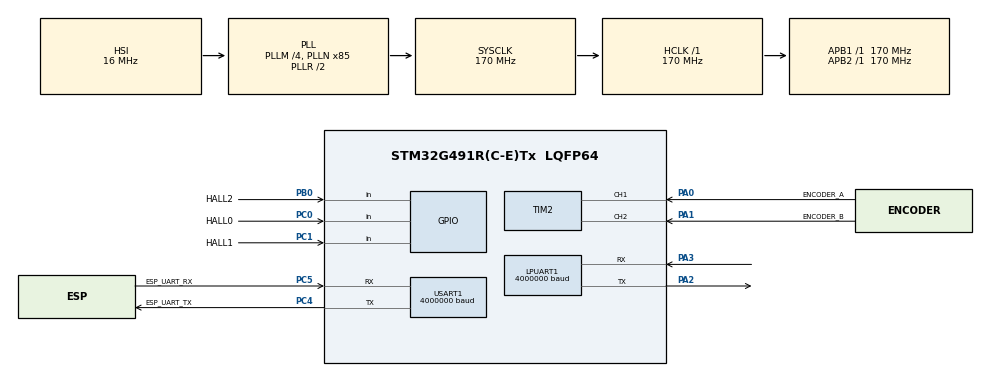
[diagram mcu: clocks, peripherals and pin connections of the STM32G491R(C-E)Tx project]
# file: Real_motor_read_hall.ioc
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Dma.LPUART1_TX.2.Direction=DMA_MEMORY_TO_PERIPH
Dma.LPUART1_TX.2.EventEnable=DISABLE
Dma.LPUART1_TX.2.Instance=DMA1_Channel3
Dma.LPUART1_TX.2.MemDataAlignment=DMA_MDATAALIGN_BYTE
Dma.LPUART1_TX.2.MemInc=DMA_MINC_ENABLE
Dma.LPUART1_TX.2.Mode=DMA_NORMAL
Dma.LPUART1_TX.2.PeriphDataAlignment=DMA_PDATAALIGN_BYTE
Dma.LPUART1_TX.2.PeriphInc=DMA_PINC_DISABLE
Dma.LPUART1_TX.2.Polarity=HAL_DMAMUX_REQ_GEN_RISING
Dma.LPUART1_TX.2.Priority=DMA_PRIORITY_MEDIUM
Dma.LPUART1_TX.2.RequestNumber=1
Dma.LPUART1_TX.2.SignalID=NONE
Dma.LPUART1_TX.2.SyncEnable=DISABLE
Dma.LPUART1_TX.2.SyncPolarity=HAL_DMAMUX_SYNC_NO_EVENT
Dma.LPUART1_TX.2.SyncRequestNumber=1
Dma.LPUART1_TX.2.SyncSignalID=NONE
Dma.Request0=USART1_RX
Dma.Request1=USART1_TX
Dma.Request2=LPUART1_TX
Dma.USART1_RX.0.Direction=DMA_PERIPH_TO_MEMORY
Dma.USART1_RX.0.EventEnable=DISABLE
Dma.USART1_RX.0.Instance=DMA1_Channel1
Dma.USART1_RX.0.MemDataAlignment=DMA_MDATAALIGN_BYTE
Dma.USART1_RX.0.MemInc=DMA_MINC_ENABLE
Dma.USART1_RX.0.Mode=DMA_NORMAL
Dma.USART1_RX.0.PeriphDataAlignment=DMA_PDATAALIGN_BYTE
Dma.USART1_RX.0.PeriphInc=DMA_PINC_DISABLE
Dma.USART1_RX.0.Polarity=HAL_DMAMUX_REQ_GEN_RISING
Dma.USART1_RX.0.Priority=DMA_PRIORITY_HIGH
Dma.USART1_RX.0.RequestNumber=1
Dma.USART1_RX.0.SignalID=NONE
Dma.USART1_RX.0.SyncEnable=DISABLE
Dma.USART1_RX.0.SyncPolarity=HAL_DMAMUX_SYNC_NO_EVENT
Dma.USART1_RX.0.SyncRequestNumber=1
Dma.USART1_RX.0.SyncSignalID=NONE
Dma.USART1_TX.1.Direction=DMA_MEMORY_TO_PERIPH
Dma.USART1_TX.1.EventEnable=DISABLE
Dma.USART1_TX.1.Instance=DMA1_Channel2
Dma.USART1_TX.1.MemDataAlignment=DMA_MDATAALIGN_BYTE
Dma.USART1_TX.1.MemInc=DMA_MINC_ENABLE
Dma.USART1_TX.1.Mode=DMA_NORMAL
Dma.USART1_TX.1.PeriphDataAlignment=DMA_PDATAALIGN_BYTE
Dma.USART1_TX.1.PeriphInc=DMA_PINC_DISABLE
Dma.USART1_TX.1.Polarity=HAL_DMAMUX_REQ_GEN_RISING
Dma.USART1_TX.1.Priority=DMA_PRIORITY_HIGH
Dma.USART1_TX.1.RequestNumber=1
Dma.USART1_TX.1.SignalID=NONE
Dma.USART1_TX.1.SyncEnable=DISABLE
Dma.USART1_TX.1.SyncPolarity=HAL_DMAMUX_SYNC_NO_EVENT
Dma.USART1_TX.1.SyncRequestNumber=1
Dma.USART1_TX.1.SyncSignalID=NONE
LPUART1.BaudRate=4000000
Mcu.Family=STM32G4
Mcu.Name=STM32G491R(C-E)Tx
Mcu.Package=LQFP64
NVIC.DMA1_Channel1_IRQn=true\:2\:0\:false\:false\:true\:false\:true\:true
NVIC.DMA1_Channel2_IRQn=true\:2\:0\:false\:false\:true\:false\:true\:true
NVIC.DMA1_Channel3_IRQn=true\:3\:0\:false\:false\:true\:false\:true\:true
NVIC.LPUART1_IRQn=true\:3\:0\:false\:false\:true\:true\:true\:true
NVIC.PriorityGroup=NVIC_PRIORITYGROUP_4
NVIC.TIM6_DAC_IRQn=true\:1\:0\:false\:false\:true\:true\:true\:true
NVIC.USART1_IRQn=true\:2\:0\:false\:false\:true\:true\:true\:true
PA0.GPIO_Label=ENCODER_A
PA0.GPIO_PuPd=GPIO_PULLUP
PA0.Signal=S_TIM2_CH1
PA1.GPIO_Label=ENCODER_B
PA1.GPIO_PuPd=GPIO_PULLUP
PA1.Signal=S_TIM2_CH2
PA13.Mode=Serial_Wire
PA13.Signal=SYS_JTMS-SWDIO
PA14.Mode=Serial_Wire
PA14.Signal=SYS_JTCK-SWCLK
PA2.Mode=Asynchronous
PA2.Signal=LPUART1_TX
PA2.TagName=VCP_TX
PA3.Mode=Asynchronous
PA3.Signal=LPUART1_RX
PA3.TagName=VCP_RX
PB0.GPIO_Label=HALL2
PB0.GPIO_PuPd=GPIO_PULLUP
PB0.Signal=GPIO_Input
PC0.GPIO_Label=HALL0
PC0.GPIO_PuPd=GPIO_PULLUP
PC0.Signal=GPIO_Input
PC1.GPIO_Label=HALL1
PC1.GPIO_PuPd=GPIO_PULLUP
PC1.Signal=GPIO_Input
PC4.GPIO_Label=ESP_UART_TX
PC4.GPIO_Speed=GPIO_SPEED_FREQ_VERY_HIGH
PC4.Mode=Asynchronous
PC4.Signal=USART1_TX
PC5.GPIO_Label=ESP_UART_RX
PC5.GPIO_PuPd=GPIO_PULLUP
PC5.GPIO_Speed=GPIO_SPEED_FREQ_VERY_HIGH
PC5.Mode=Asynchronous
PC5.Signal=USART1_RX
ProjectManager.HeapSize=0x200
ProjectManager.StackSize=0x400
ProjectManager.TargetToolchain=STM32CubeIDE
RCC.ADC12Freq_Value=170000000
RCC.ADC345Freq_Value=170000000
RCC.AHBFreq_Value=170000000
RCC.APB1Freq_Value=170000000
RCC.APB1TimFreq_Value=170000000
RCC.APB2Freq_Value=170000000
RCC.APB2TimFreq_Value=170000000
RCC.CortexFreq_Value=170000000
RCC.EXTERNAL_CLOCK_VALUE=12288000
RCC.HCLKFreq_Value=170000000
RCC.HSE_VALUE=24000000
RCC.HSI48_VALUE=48000000
RCC.HSI_VALUE=16000000
RCC.LSE_VALUE=32768
RCC.PLLM=RCC_PLLM_DIV4
RCC.PLLN=85
RCC.RTCClockSelection=RCC_RTCCLKSOURCE_LSE
RCC.SYSCLKFreq_VALUE=170000000
RCC.SYSCLKSource=RCC_SYSCLKSOURCE_PLLCLK
RCC.USBFreq_Value=48000000
RCC.VCOOutputFreq_Value=340000000
SH.S_TIM2_CH1.0=TIM2_CH1,Encoder_Interface
SH.S_TIM2_CH2.0=TIM2_CH2,Encoder_Interface
TIM2.EncoderMode=TIM_ENCODERMODE_TI12
TIM2.IC1Filter=6
TIM2.IC2Filter=6
TIM6.PeriodNoDither=999
TIM6.Prescaler=169
USART1.BaudRate=4000000
USART1.VirtualMode-Asynchronous=VM_ASYNC
VP_SYS_VS_DBSignals.Mode=DisableDeadBatterySignals
VP_TIM6_VS_ClockSourceINT.Mode=Enable_Timer
board=NUCLEO-G491RE

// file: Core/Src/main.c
/* USER CODE BEGIN Header */
/**
  ******************************************************************************
  * @file           : main.c
  * @brief          : Main program body
  ******************************************************************************
  * @attention
  *
  * Copyright (c) 2026 STMicroelectronics.
  * All rights reserved.
  *
  * This software is licensed under terms that can be found in the LICENSE file
  * in the root directory of this software component.
  * If no LICENSE file comes with this software, it is provided AS-IS.
  *
  ******************************************************************************
  */
/* USER CODE END Header */
#include "main.h"

/* USER CODE BEGIN Includes */
#include <stdio.h>
#include "current_pi_sim.h"
#include "pc_sim.h"
/* USER CODE END Includes */

/* USER CODE BEGIN PD */
#define ENCODER_PPR             4096U
/* TIM_ENCODERMODE_TI12 = 4x decoding: her PPR cizgisi 4 sayima karsilik gelir. */
#define ENCODER_COUNTS_PER_REV  (ENCODER_PPR * 4U)
#define UART_TELEMETRY_PERIOD_MS 1U
/* USER CODE END PD */

UART_HandleTypeDef hlpuart1;
UART_HandleTypeDef huart1;
DMA_HandleTypeDef hdma_lpuart1_tx;
DMA_HandleTypeDef hdma_usart1_rx;
DMA_HandleTypeDef hdma_usart1_tx;

TIM_HandleTypeDef htim2;
TIM_HandleTypeDef htim6;

/* USER CODE BEGIN PV */
/* STM32CubeIDE Live Expressions veya daha sonra eklenecek UI komut katmani
   uzerinden bu ayarlar degistirilebilir. */
volatile CurrentPiInputs g_control_inputs = CURRENT_PI_DEFAULT_INPUTS;
volatile CurrentPiState g_control_state;
volatile uint32_t g_control_skipped_steps = 0U;
volatile uint32_t g_uart_errors = 0U;
volatile uint32_t g_uart_dropped_frames = 0U;
static CurrentPiState currentPi;
#if !PC_SIMULATION
static char telemetryMsg[256];
static uint32_t telemetrySequence = 0U;
#endif

/* USER CODE END PV */

void SystemClock_Config(void);
static void MX_GPIO_Init(void);
static void MX_DMA_Init(void);
static void MX_LPUART1_UART_Init(void);
static void MX_USART1_UART_Init(void);
static void MX_TIM2_Init(void);
static void MX_TIM6_Init(void);

/* USER CODE BEGIN 0 */
#if !PC_SIMULATION
static uint8_t Read_Hall_State(void)
{
  uint8_t h0 = (uint8_t)HAL_GPIO_ReadPin(HALL0_GPIO_Port, HALL0_Pin);
  uint8_t h1 = (uint8_t)HAL_GPIO_ReadPin(HALL1_GPIO_Port, HALL1_Pin);
  uint8_t h2 = (uint8_t)HAL_GPIO_ReadPin(HALL2_GPIO_Port, HALL2_Pin);

  return (uint8_t)((h2 << 2) | (h1 << 1) | h0);
}

/**
  * @brief  TIM2'nin 32-bit encoder sayacini okur.
  */
static int32_t Read_Encoder_Count(void)
{
  return (int32_t)__HAL_TIM_GET_COUNTER(&htim2);
}

static char Phase_Char(MotorPhase phase)
{
  static const char names[] = "-ABC";
  return (phase <= PHASE_C) ? names[phase] : '-';
}

/**
  * @brief  Hall, sektor, gercek encoder/RPM ve sanal PI/akim durumunu UI'ya
  *         tek ve kolay ayrıştırılabilir UART satiri olarak yollar.
  */
static void Print_Telemetry(int32_t encoder_count, uint32_t timestamp_ms)
{
  int len;

  if (hlpuart1.gState != HAL_UART_STATE_READY)
  {
    ++g_uart_dropped_frames;
    return;
  }

  len = snprintf(telemetryMsg, sizeof(telemetryMsg),
      "DATA t=%lu seq=%lu hall=%u sector=%u high=%c low=%c float=%c valid=%u "
      "enc=%ld rpm=%ld iref_ma=%ld fake_i_ma=%ld err_ma=%ld "
      "duty_x10=%ld integral_x10=%ld bemf_mv=%ld applied_mv=%ld "
      "enabled=%lu drop=%lu\r\n",
      (unsigned long)timestamp_ms,
      (unsigned long)telemetrySequence,
      (unsigned int)currentPi.hall_state,
      (unsigned int)currentPi.commutation.sector,
      Phase_Char(currentPi.commutation.high_phase),
      Phase_Char(currentPi.commutation.low_phase),
      Phase_Char(currentPi.commutation.floating_phase),
      (unsigned int)currentPi.commutation.valid,
      (long)encoder_count,
      (long)currentPi.real_rpm,
      (long)(currentPi.target_current_a * 1000.0f),
      (long)(currentPi.fake_current_a * 1000.0f),
      (long)(currentPi.error_a * 1000.0f),
      (long)(currentPi.duty_percent * 10.0f),
      (long)(currentPi.integral_percent * 10.0f),
      (long)(currentPi.back_emf_v * 1000.0f),
      (long)(currentPi.applied_voltage_v * 1000.0f),
      (unsigned long)currentPi.applied_inputs.enabled,
      (unsigned long)g_uart_dropped_frames);

  if (len <= 0 || len >= (int)sizeof(telemetryMsg) ||
      HAL_UART_Transmit_DMA(&hlpuart1, (uint8_t *)telemetryMsg,
                            (uint16_t)len) != HAL_OK)
  {
    ++g_uart_errors;
  }
  else
  {
    ++telemetrySequence;
  }
}

#endif
/* USER CODE END 0 */

int main(void)
{

  /* MCU Configuration--------------------------------------------------------*/

  /* Reset of all peripherals, Initializes the Flash interface and the Systick. */
  HAL_Init();

  /* Configure the system clock */
  SystemClock_Config();

  /* Initialize all configured peripherals */
  MX_GPIO_Init();
  MX_DMA_Init();
  MX_LPUART1_UART_Init();
  MX_USART1_UART_Init();
  MX_TIM2_Init();
  MX_TIM6_Init();
  /* USER CODE BEGIN 2 */
  #if PC_SIMULATION
  CurrentPi_Init(&currentPi);
  PCSim_Init(&hlpuart1);
  #else
  uint32_t lastControlMs = HAL_GetTick();
  uint32_t lastEncoderSampleMs = lastControlMs;
  uint32_t lastTelemetryMs = lastControlMs;
  int32_t encoderCount;
  int32_t lastEncoderCount;
  float realRpm = 0.0f;

  CurrentPi_Init(&currentPi);
  if (HAL_TIM_Encoder_Start(&htim2, TIM_CHANNEL_ALL) != HAL_OK)
  {
    Error_Handler();
  }
  __HAL_TIM_SET_COUNTER(&htim2, 0U);
  lastEncoderCount = Read_Encoder_Count();
  encoderCount = lastEncoderCount;
  /* Motor surucusu/PWM cikisi yoktur. Hall ve encoder gercek giris; akim ve
     duty STM32 icinde sayisal olarak simule edilir. */
  g_control_state = currentPi;
  #endif
  /* USER CODE END 2 */

  /* Infinite loop */
  /* USER CODE BEGIN WHILE */
  while (1)
  {
    #if PC_SIMULATION
    const CurrentPiInputs inputs = g_control_inputs;
    PCSim_Poll(&inputs);
    g_control_state = g_pc_sim.pi;
    #else
    uint32_t nowMs = HAL_GetTick();
    uint32_t steps = 0U;
    uint8_t hallState = Read_Hall_State();

    if ((uint32_t)(nowMs - lastEncoderSampleMs) >= CURRENT_PI_STEP_MS)
    {
      uint32_t deltaMs = nowMs - lastEncoderSampleMs;
      int32_t deltaCount;

      encoderCount = Read_Encoder_Count();
      deltaCount = (int32_t)((uint32_t)encoderCount -
                             (uint32_t)lastEncoderCount);
      realRpm = ((float)deltaCount * 60000.0f) /
                ((float)ENCODER_COUNTS_PER_REV * (float)deltaMs);
      lastEncoderCount = encoderCount;
      lastEncoderSampleMs = nowMs;
    }

    while ((uint32_t)(nowMs - lastControlMs) >= CURRENT_PI_STEP_MS &&
           steps < 5U)
    {
      const CurrentPiInputs inputs = g_control_inputs;
      CurrentPi_Step(&currentPi, &inputs, realRpm, hallState);
      lastControlMs += CURRENT_PI_STEP_MS;
      ++steps;
    }
    if ((uint32_t)(nowMs - lastControlMs) >= CURRENT_PI_STEP_MS)
    {
      g_control_skipped_steps +=
          (uint32_t)(nowMs - lastControlMs) / CURRENT_PI_STEP_MS;
      lastControlMs = nowMs;
    }
    g_control_state = currentPi;

    if ((uint32_t)(nowMs - lastTelemetryMs) >= UART_TELEMETRY_PERIOD_MS)
    {
      lastTelemetryMs = nowMs;
      Print_Telemetry(encoderCount, nowMs);
    }
    __WFI();
    #endif
    /* USER CODE END WHILE */

  }
}

void SystemClock_Config(void)
{
  RCC_OscInitTypeDef RCC_OscInitStruct = {0};
  RCC_ClkInitTypeDef RCC_ClkInitStruct = {0};

  /** Configure the main internal regulator output voltage
  */
  HAL_PWREx_ControlVoltageScaling(PWR_REGULATOR_VOLTAGE_SCALE1_BOOST);

  /** Initializes the RCC Oscillators according to the specified parameters
  * in the RCC_OscInitTypeDef structure.
  */
  RCC_OscInitStruct.OscillatorType = RCC_OSCILLATORTYPE_HSI;
  RCC_OscInitStruct.HSIState = RCC_HSI_ON;
  RCC_OscInitStruct.HSICalibrationValue = RCC_HSICALIBRATION_DEFAULT;
  RCC_OscInitStruct.PLL.PLLState = RCC_PLL_ON;
  RCC_OscInitStruct.PLL.PLLSource = RCC_PLLSOURCE_HSI;
  RCC_OscInitStruct.PLL.PLLM = RCC_PLLM_DIV4;
  RCC_OscInitStruct.PLL.PLLN = 85;
  RCC_OscInitStruct.PLL.PLLP = RCC_PLLP_DIV2;
  RCC_OscInitStruct.PLL.PLLQ = RCC_PLLQ_DIV2;
  RCC_OscInitStruct.PLL.PLLR = RCC_PLLR_DIV2;
  if (HAL_RCC_OscConfig(&RCC_OscInitStruct) != HAL_OK)
  {
    Error_Handler();
  }

  /** Initializes the CPU, AHB and APB buses clocks
  */
  RCC_ClkInitStruct.ClockType = RCC_CLOCKTYPE_HCLK|RCC_CLOCKTYPE_SYSCLK
                              |RCC_CLOCKTYPE_PCLK1|RCC_CLOCKTYPE_PCLK2;
  RCC_ClkInitStruct.SYSCLKSource = RCC_SYSCLKSOURCE_PLLCLK;
  RCC_ClkInitStruct.AHBCLKDivider = RCC_SYSCLK_DIV1;
  RCC_ClkInitStruct.APB1CLKDivider = RCC_HCLK_DIV1;
  RCC_ClkInitStruct.APB2CLKDivider = RCC_HCLK_DIV1;

  if (HAL_RCC_ClockConfig(&RCC_ClkInitStruct, FLASH_LATENCY_4) != HAL_OK)
  {
    Error_Handler();
  }
}

static void MX_LPUART1_UART_Init(void)
{

  hlpuart1.Instance = LPUART1;
  hlpuart1.Init.BaudRate = 4000000;
  hlpuart1.Init.WordLength = UART_WORDLENGTH_8B;
  hlpuart1.Init.StopBits = UART_STOPBITS_1;
  hlpuart1.Init.Parity = UART_PARITY_NONE;
  hlpuart1.Init.Mode = UART_MODE_TX_RX;
  hlpuart1.Init.HwFlowCtl = UART_HWCONTROL_NONE;
  hlpuart1.Init.OneBitSampling = UART_ONE_BIT_SAMPLE_DISABLE;
  hlpuart1.Init.ClockPrescaler = UART_PRESCALER_DIV1;
  hlpuart1.AdvancedInit.AdvFeatureInit = UART_ADVFEATURE_NO_INIT;
  if (HAL_UART_Init(&hlpuart1) != HAL_OK)
  {
    Error_Handler();
  }
  if (HAL_UARTEx_SetTxFifoThreshold(&hlpuart1, UART_TXFIFO_THRESHOLD_1_8) != HAL_OK)
  {
    Error_Handler();
  }
  if (HAL_UARTEx_SetRxFifoThreshold(&hlpuart1, UART_RXFIFO_THRESHOLD_1_8) != HAL_OK)
  {
    Error_Handler();
  }
  if (HAL_UARTEx_DisableFifoMode(&hlpuart1) != HAL_OK)
  {
    Error_Handler();
  }

}

static void MX_USART1_UART_Init(void)
{

  huart1.Instance = USART1;
  huart1.Init.BaudRate = 4000000;
  huart1.Init.WordLength = UART_WORDLENGTH_8B;
  huart1.Init.StopBits = UART_STOPBITS_1;
  huart1.Init.Parity = UART_PARITY_NONE;
  huart1.Init.Mode = UART_MODE_TX_RX;
  huart1.Init.HwFlowCtl = UART_HWCONTROL_NONE;
  huart1.Init.OverSampling = UART_OVERSAMPLING_16;
  huart1.Init.OneBitSampling = UART_ONE_BIT_SAMPLE_DISABLE;
  huart1.Init.ClockPrescaler = UART_PRESCALER_DIV1;
  huart1.AdvancedInit.AdvFeatureInit = UART_ADVFEATURE_NO_INIT;
  if (HAL_UART_Init(&huart1) != HAL_OK)
  {
    Error_Handler();
  }
  if (HAL_UARTEx_SetTxFifoThreshold(&huart1, UART_TXFIFO_THRESHOLD_1_8) != HAL_OK)
  {
    Error_Handler();
  }
  if (HAL_UARTEx_SetRxFifoThreshold(&huart1, UART_RXFIFO_THRESHOLD_1_8) != HAL_OK)
  {
    Error_Handler();
  }
  if (HAL_UARTEx_DisableFifoMode(&huart1) != HAL_OK)
  {
    Error_Handler();
  }

}

static void MX_TIM2_Init(void)
{

  TIM_Encoder_InitTypeDef sConfig = {0};
  TIM_MasterConfigTypeDef sMasterConfig = {0};

  htim2.Instance = TIM2;
  htim2.Init.Prescaler = 0;
  htim2.Init.CounterMode = TIM_COUNTERMODE_UP;
  htim2.Init.Period = 4294967295;
  htim2.Init.ClockDivision = TIM_CLOCKDIVISION_DIV1;
  htim2.Init.AutoReloadPreload = TIM_AUTORELOAD_PRELOAD_DISABLE;
  sConfig.EncoderMode = TIM_ENCODERMODE_TI12;
  sConfig.IC1Polarity = TIM_ICPOLARITY_RISING;
  sConfig.IC1Selection = TIM_ICSELECTION_DIRECTTI;
  sConfig.IC1Prescaler = TIM_ICPSC_DIV1;
  sConfig.IC1Filter = 6;
  sConfig.IC2Polarity = TIM_ICPOLARITY_RISING;
  sConfig.IC2Selection = TIM_ICSELECTION_DIRECTTI;
  sConfig.IC2Prescaler = TIM_ICPSC_DIV1;
  sConfig.IC2Filter = 6;
  if (HAL_TIM_Encoder_Init(&htim2, &sConfig) != HAL_OK)
  {
    Error_Handler();
  }
  sMasterConfig.MasterOutputTrigger = TIM_TRGO_RESET;
  sMasterConfig.MasterSlaveMode = TIM_MASTERSLAVEMODE_DISABLE;
  if (HAL_TIMEx_MasterConfigSynchronization(&htim2, &sMasterConfig) != HAL_OK)
  {
    Error_Handler();
  }

}

static void MX_TIM6_Init(void)
{

  TIM_MasterConfigTypeDef sMasterConfig = {0};

  htim6.Instance = TIM6;
  htim6.Init.Prescaler = 169;
  htim6.Init.CounterMode = TIM_COUNTERMODE_UP;
  htim6.Init.Period = 999;
  htim6.Init.AutoReloadPreload = TIM_AUTORELOAD_PRELOAD_DISABLE;
  if (HAL_TIM_Base_Init(&htim6) != HAL_OK)
  {
    Error_Handler();
  }
  sMasterConfig.MasterOutputTrigger = TIM_TRGO_RESET;
  sMasterConfig.MasterSlaveMode = TIM_MASTERSLAVEMODE_DISABLE;
  if (HAL_TIMEx_MasterConfigSynchronization(&htim6, &sMasterConfig) != HAL_OK)
  {
    Error_Handler();
  }

}

static void MX_DMA_Init(void)
{

  /* DMA controller clock enable */
  __HAL_RCC_DMAMUX1_CLK_ENABLE();
  __HAL_RCC_DMA1_CLK_ENABLE();

  /* DMA interrupt init */
  /* DMA1_Channel1_IRQn interrupt configuration */
  HAL_NVIC_SetPriority(DMA1_Channel1_IRQn, 2, 0);
  HAL_NVIC_EnableIRQ(DMA1_Channel1_IRQn);
  /* DMA1_Channel2_IRQn interrupt configuration */
  HAL_NVIC_SetPriority(DMA1_Channel2_IRQn, 2, 0);
  HAL_NVIC_EnableIRQ(DMA1_Channel2_IRQn);
  /* DMA1_Channel3_IRQn interrupt configuration */
  HAL_NVIC_SetPriority(DMA1_Channel3_IRQn, 3, 0);
  HAL_NVIC_EnableIRQ(DMA1_Channel3_IRQn);

}

static void MX_GPIO_Init(void)
{
  GPIO_InitTypeDef GPIO_InitStruct = {0};

  /* GPIO Ports Clock Enable */
  __HAL_RCC_GPIOC_CLK_ENABLE();
  __HAL_RCC_GPIOA_CLK_ENABLE();
  __HAL_RCC_GPIOB_CLK_ENABLE();

  /*Configure GPIO pins : HALL0_Pin HALL1_Pin */
  GPIO_InitStruct.Pin = HALL0_Pin|HALL1_Pin;
  GPIO_InitStruct.Mode = GPIO_MODE_INPUT;
  GPIO_InitStruct.Pull = GPIO_PULLUP;
  HAL_GPIO_Init(GPIOC, &GPIO_InitStruct);

  /*Configure GPIO pin : HALL2_Pin */
  GPIO_InitStruct.Pin = HALL2_Pin;
  GPIO_InitStruct.Mode = GPIO_MODE_INPUT;
  GPIO_InitStruct.Pull = GPIO_PULLUP;
  HAL_GPIO_Init(HALL2_GPIO_Port, &GPIO_InitStruct);

}

void Error_Handler(void)
{
  __disable_irq();
  while (1)
  {
  }
}
